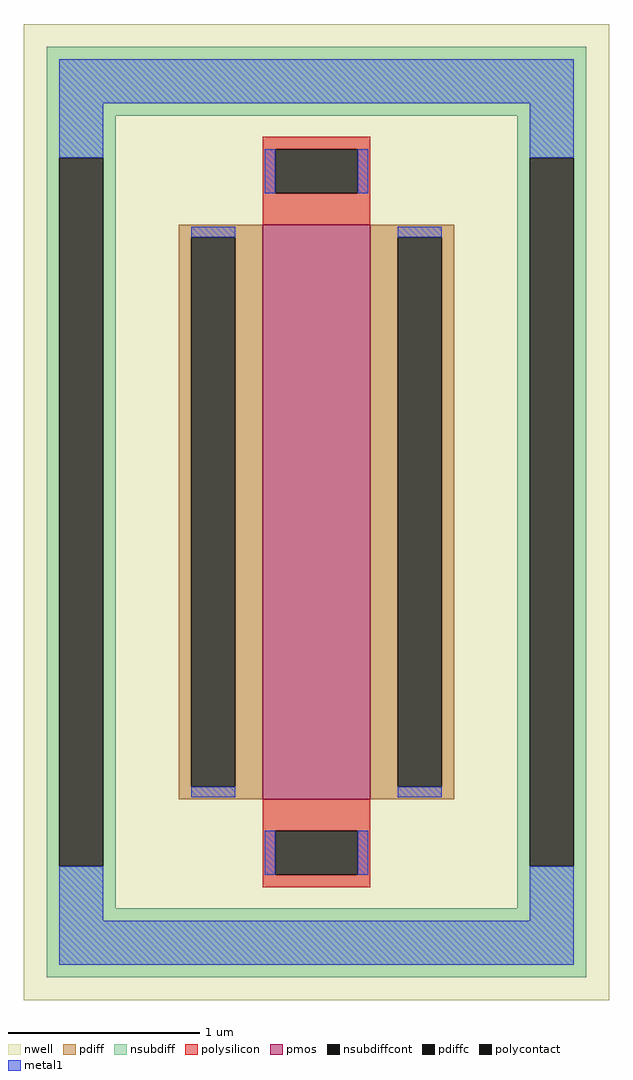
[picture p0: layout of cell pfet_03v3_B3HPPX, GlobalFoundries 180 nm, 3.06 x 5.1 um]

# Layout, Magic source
magic
tech gf180mcuD
magscale 1 10
<< nwell >>
rect -306 -510 306 510
<< pmos >>
rect -56 -300 56 300
<< pdiff >>
rect -144 287 -56 300
rect -144 -287 -131 287
rect -85 -287 -56 287
rect -144 -300 -56 -287
rect 56 287 144 300
rect 56 -287 85 287
rect 131 -287 144 287
rect 56 -300 144 -287
<< pdiffc >>
rect -131 -287 -85 287
rect 85 -287 131 287
<< nsubdiff >>
rect -282 414 282 486
rect -282 370 -210 414
rect -282 -370 -269 370
rect -223 -370 -210 370
rect 210 370 282 414
rect -282 -414 -210 -370
rect 210 -370 223 370
rect 269 -370 282 370
rect 210 -414 282 -370
rect -282 -486 282 -414
<< nsubdiffcont >>
rect -269 -370 -223 370
rect 223 -370 269 370
<< polysilicon >>
rect -56 379 56 392
rect -56 333 -43 379
rect 43 333 56 379
rect -56 300 56 333
rect -56 -333 56 -300
rect -56 -379 -43 -333
rect 43 -379 56 -333
rect -56 -392 56 -379
<< polycontact >>
rect -43 333 43 379
rect -43 -379 43 -333
<< metal1 >>
rect -269 427 269 473
rect -269 370 -223 427
rect -54 333 -43 379
rect 43 333 54 379
rect 223 370 269 427
rect -131 287 -85 298
rect -131 -298 -85 -287
rect 85 287 131 298
rect 85 -298 131 -287
rect -269 -427 -223 -370
rect -54 -379 -43 -333
rect 43 -379 54 -333
rect 223 -427 269 -370
rect -269 -473 269 -427
<< properties >>
string FIXED_BBOX -246 -450 246 450
string gencell pfet_03v3
string library gf180mcu
string parameters w 3.0 l 0.56 m 1 nf 1 diffcov 100 polycov 100 guard 1 glc 1 grc 1 gtc 0 gbc 0 tbcov 100 rlcov 100 topc 1 botc 1 poverlap 0 doverlap 1 lmin 0.28 wmin 0.22 class mosfet full_metal 1 compatible {pfet_03v3 pfet_05v0 pfet_06v0} ad {int((nf+1)/2) * W/nf * 0.18u} as {int((nf+2)/2) * W/nf * 0.18u} pd {2*int((nf+1)/2) * (W/nf + 0.18u)} ps {2*int((nf+2)/2) * (W/nf + 0.18u)} nrd {0.18u / W} nrs {0.18u / W} sa 0 sb 0 sd 0
<< end >>
